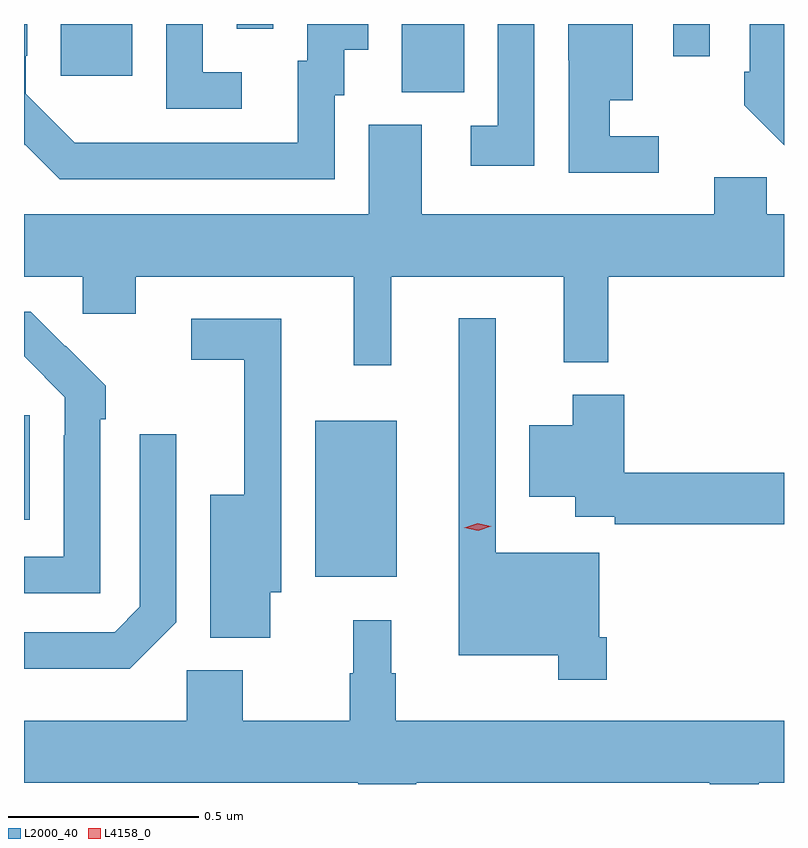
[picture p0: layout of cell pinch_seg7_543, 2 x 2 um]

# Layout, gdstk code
import gdstk
lib = gdstk.Library(unit=1e-6, precision=1e-09)
def R(c, l, rs):  # rectangles x0, y0, x1, y1
    for r in rs: c.add(gdstk.rectangle(r[:2], r[2:], *l))
def P(c, l, *ps):  # polygons
    for p in ps: c.add(gdstk.Polygon(p, *l))
L2000_40 = (2000, 40)
L4158_0 = (4158, 0)

pinch_seg7_543 = lib.new_cell('pinch_seg7_543')
R(pinch_seg7_543, L2000_40, [(158.03,1063.763,158.245,1064.173), (157.264,1063.913,157.279,1064.188), (158.258,1065.037,158.422,1065.217), (157.361,1065.081,157.549,1065.217), (158.973,1065.132,159.069,1065.217), (157.824,1065.204,157.92,1065.217)])
P(pinch_seg7_543, L2000_40, [(159.264,1065.217),(159.174,1065.217),(159.174,1065.091),(159.159,1065.091),(159.159,1065.003),(159.264,1064.898)],
  [(158.082,1065.03),(158.107,1065.03),(158.107,1065.149),(158.17,1065.149),(158.17,1065.217),(158.009,1065.217),(158.009,1065.12),(157.985,1065.12),(157.985,1064.904),(157.501,1064.904),(157.501,1064.905),(157.398,1064.905),(157.269,1065.033),(157.269,1065.133),(157.272,1065.133),(157.272,1065.217),(157.264,1065.217),(157.264,1064.9),(157.266,1064.898),(157.267,1064.899),(157.358,1064.808),(158.082,1064.808)],
  [(158.935,1064.922),(158.806,1064.922),(158.806,1065.017),(158.866,1065.017),(158.866,1065.217),(158.696,1065.217),(158.696,1065.121),(158.697,1065.121),(158.697,1064.826),(158.935,1064.826)],
  [(158.607,1065.217),(158.511,1065.217),(158.511,1064.949),(158.439,1064.949),(158.439,1064.844),(158.607,1064.844)],
  [(157.837,1065.09),(157.734,1065.09),(157.734,1065.217),(157.638,1065.217),(157.638,1064.994),(157.837,1064.994)],
  [(158.231,1064.552),(158.684,1064.552),(158.684,1064.327),(158.801,1064.327),(158.801,1064.552),(159.264,1064.552),(159.264,1064.716),(159.219,1064.716),(159.219,1064.814),(159.08,1064.814),(159.08,1064.716),(158.311,1064.716),(158.311,1064.952),(158.171,1064.952),(158.171,1064.716),(157.264,1064.716),(157.264,1064.552),(157.419,1064.552),(157.419,1064.454),(157.558,1064.454),(157.558,1064.552),(158.132,1064.552),(158.132,1064.319),(158.231,1064.319)],
  [(157.464,1064.177),(157.479,1064.177),(157.479,1064.265),(157.374,1064.37),(157.373,1064.369),(157.282,1064.46),(157.264,1064.46),(157.264,1064.343),(157.371,1064.235),(157.371,1064.135),(157.368,1064.135),(157.368,1063.815),(157.264,1063.815),(157.264,1063.719),(157.464,1063.719)],
  [(158.798,1063.603),(158.778,1063.603),(158.778,1063.825),(158.505,1063.825),(158.505,1064.443),(158.408,1064.443),(158.408,1063.556),(158.67,1063.556),(158.67,1063.491),(158.798,1063.491)],
  [(157.912,1063.721),(157.941,1063.721),(157.941,1064.442),(157.704,1064.442),(157.704,1064.334),(157.844,1064.334),(157.844,1063.978),(157.754,1063.978),(157.754,1063.602),(157.912,1063.602)],
  [(159.264,1064.036),(158.843,1064.036),(158.843,1064.242),(158.708,1064.242),(158.708,1064.161),(158.594,1064.161),(158.594,1063.973),(158.714,1063.973),(158.714,1063.92),(158.818,1063.92),(158.818,1063.9),(159.264,1063.9)],
  [(157.665,1063.643),(157.665,1064.137),(157.569,1064.137),(157.569,1063.683),(157.503,1063.617),(157.264,1063.617),(157.264,1063.52),(157.542,1063.52)],
  [(158.296,1063.22),(159.068,1063.22),(159.068,1063.217),(159.197,1063.217),(159.197,1063.22),(159.264,1063.22),(159.264,1063.384),(158.242,1063.384),(158.242,1063.508),(158.23,1063.508),(158.23,1063.648),(158.131,1063.648),(158.131,1063.508),(158.121,1063.508),(158.121,1063.384),(157.839,1063.384),(157.839,1063.516),(157.692,1063.516),(157.692,1063.384),(157.264,1063.384),(157.264,1063.22),(158.144,1063.22),(158.144,1063.217),(158.296,1063.217)])
P(pinch_seg7_543, L4158_0, [(158.459,1063.884),(158.423,1063.892),(158.422,1063.892),(158.423,1063.892),(158.458,1063.903),(158.494,1063.895),(158.494,1063.895),(158.494,1063.895)])

lib.write_gds('pinch_seg7_543.gds')
